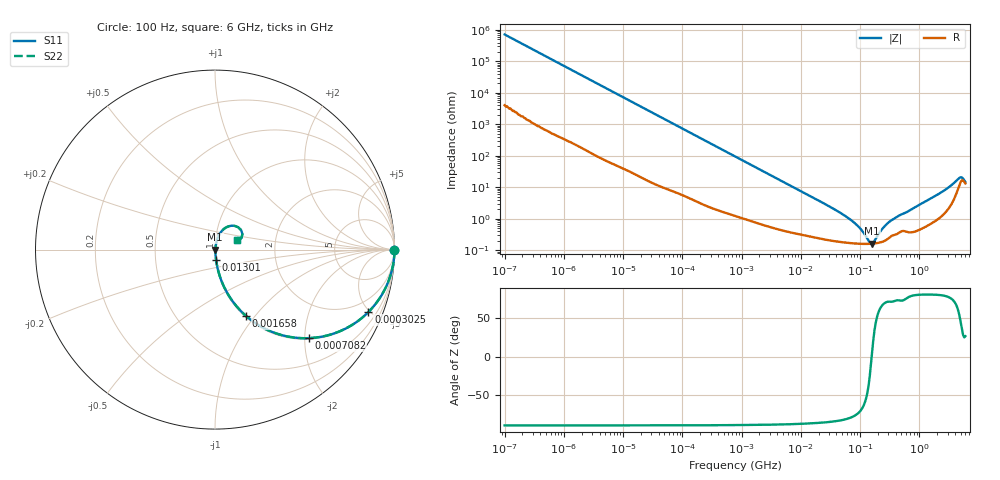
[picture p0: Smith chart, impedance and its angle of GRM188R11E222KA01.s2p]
!Murata Part Number: GRM188R11E222KA01
!These Parameters are Measured in Series Mode Connection
!Data Generated on Mar 30, 2021
!  o--ll--o
!Port1  Port2
!  o------o
!Operation Temp=25[degC], DC Bias Voltage=0[V]
!Freq. Start=100[Hz] Stop=6[GHz] 401[Steps]
# Hz S RI R 50
!Freq.(Hz) S11(Real) S11(Imag) S21(Real) S21(Imag) S12(Real) S12(Imag) S22(Real) S22(Imag)
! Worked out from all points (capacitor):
!   401 points, 100 Hz to 6 GHz, reference 50 ohm
!   read as one part in series: C = 2.2 nF near 109 Hz
!   lowest |Z| = 163 mohm at 159.6 MHz (marker M1)
!   series resonance near 157.2 MHz, so ESL is about 470 pH
!   S11 on the Smith chart (normalised r, x): 100 Hz: open; 302.5 kHz: 1.05, -4.90; 708.2 kHz: 1.03, -2.10; 1.658 MHz: 1.02, -0.90; 13.01 MHz: 1.01, -0.12; 6 GHz: 1.27, +0.13
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100  1 -0.000139  8e-07 0.000139  8e-07 0.000139  1 -0.000139
2008  1 -0.00276  2.12e-05 0.00276  2.12e-05 0.00276  1 -0.00276
40335  0.9967 -0.0547  0.00334 0.0547  0.00334 0.0547  0.9967 -0.0547
118133  0.9739 -0.1556  0.0261 0.1556  0.0261 0.1556  0.9739 -0.1556
302498  0.8551 -0.3474  0.1449 0.3474  0.1449 0.3474  0.8551 -0.3474
708247  0.525 -0.4932  0.475 0.4932  0.475 0.4932  0.525 -0.4932
774597  0.4811 -0.4932  0.5189 0.4932  0.5189 0.4932  0.4811 -0.4932
1658239  0.174 -0.3706  0.826 0.3706  0.826 0.3706  0.174 -0.3706
3549919  0.0476 -0.2015  0.9524 0.2015  0.9524 0.2015  0.0476 -0.2015
1.300572e7  0.00624 -0.0581  0.9938 0.0581  0.9938 0.0581  0.00624 -0.0581
1.555665e7  0.00503 -0.0487  0.995 0.0487  0.995 0.0487  0.00503 -0.0487
6.817316e7  0.00179 -0.00941  0.9982 0.00941  0.9982 0.00941  0.00179 -0.00941
1.020051e8  0.00163 -0.00452  0.9984 0.00452  0.9984 0.00452  0.00163 -0.00452
1.459435e8  0.00161 -0.000758  0.9984 0.000758  0.9984 0.000758  0.00161 -0.000758
1.596157e8  0.00162 0.000159  0.9984 -0.000159  0.9984 -0.000159  0.00162 0.000159
1.745687e8  0.00165 0.00108  0.9983 -0.00108  0.9983 -0.00108  0.00165 0.00108
2.388273e8  0.00189 0.00447  0.9981 -0.00447  0.9981 -0.00447  0.00189 0.00447
3.124326e8  0.00258 0.00766  0.9974 -0.00766  0.9974 -0.00766  0.00258 0.00766
2.562649e9  0.0191 0.0735  0.9809 -0.0735  0.9809 -0.0735  0.0191 0.0735
4.586474e9  0.109 0.1323  0.891 -0.1323  0.891 -0.1323  0.109 0.1323
5.016141e9  0.145 0.1093  0.855 -0.1093  0.855 -0.1093  0.145 0.1093
6e9  0.1205 0.052  0.8795 -0.052  0.8795 -0.052  0.1205 0.052
